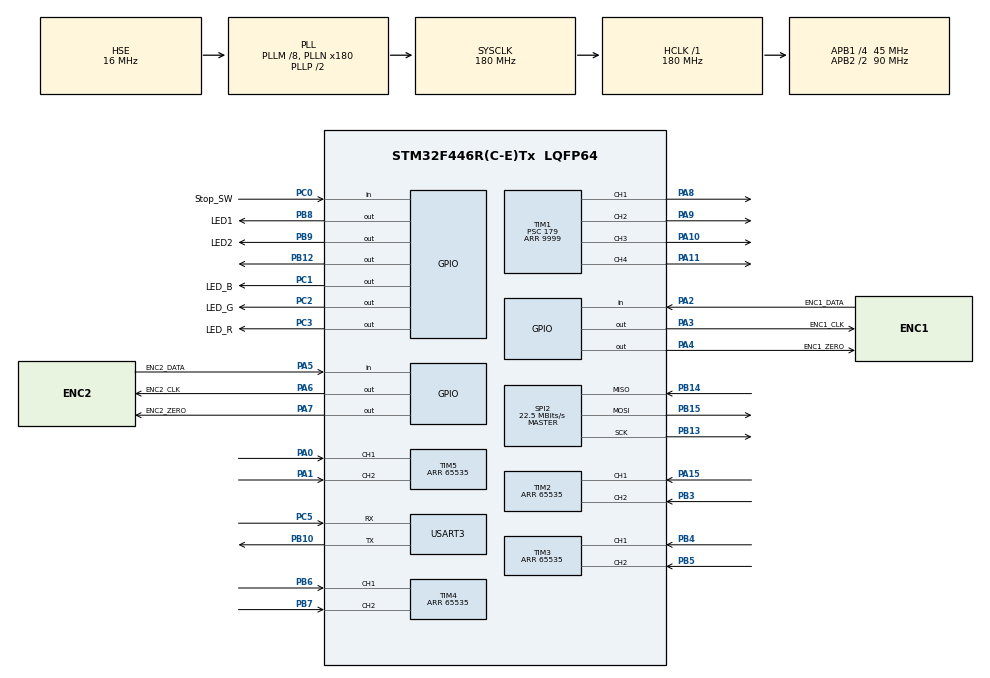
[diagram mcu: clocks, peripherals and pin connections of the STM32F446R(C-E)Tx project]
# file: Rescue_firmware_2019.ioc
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Dma.Request0=SPI2_RX
Dma.Request1=SPI2_TX
Dma.SPI2_RX.0.Direction=DMA_PERIPH_TO_MEMORY
Dma.SPI2_RX.0.FIFOMode=DMA_FIFOMODE_DISABLE
Dma.SPI2_RX.0.Instance=DMA1_Stream3
Dma.SPI2_RX.0.MemDataAlignment=DMA_MDATAALIGN_BYTE
Dma.SPI2_RX.0.MemInc=DMA_MINC_ENABLE
Dma.SPI2_RX.0.Mode=DMA_NORMAL
Dma.SPI2_RX.0.PeriphDataAlignment=DMA_PDATAALIGN_BYTE
Dma.SPI2_RX.0.PeriphInc=DMA_PINC_DISABLE
Dma.SPI2_RX.0.Priority=DMA_PRIORITY_LOW
Dma.SPI2_TX.1.Direction=DMA_MEMORY_TO_PERIPH
Dma.SPI2_TX.1.FIFOMode=DMA_FIFOMODE_DISABLE
Dma.SPI2_TX.1.Instance=DMA1_Stream4
Dma.SPI2_TX.1.MemDataAlignment=DMA_MDATAALIGN_BYTE
Dma.SPI2_TX.1.MemInc=DMA_MINC_ENABLE
Dma.SPI2_TX.1.Mode=DMA_NORMAL
Dma.SPI2_TX.1.PeriphDataAlignment=DMA_PDATAALIGN_BYTE
Dma.SPI2_TX.1.PeriphInc=DMA_PINC_DISABLE
Dma.SPI2_TX.1.Priority=DMA_PRIORITY_LOW
FREERTOS.Tasks01=defaultTask,0,128,StartDefaultTask,Default,NULL
Mcu.Family=STM32F4
Mcu.Name=STM32F446R(C-E)Tx
Mcu.Package=LQFP64
NVIC.DMA1_Stream3_IRQn=true\:5\:0\:false\:false\:true\:true\:false\:true
NVIC.DMA1_Stream4_IRQn=true\:5\:0\:false\:false\:true\:true\:false\:true
NVIC.PriorityGroup=NVIC_PRIORITYGROUP_4
NVIC.TIM1_TRG_COM_TIM11_IRQn=true\:5\:0\:false\:false\:true\:true\:true\:true
NVIC.TIM1_UP_TIM10_IRQn=true\:5\:0\:false\:false\:true\:true\:true\:true
NVIC.TIM6_DAC_IRQn=true\:5\:0\:false\:false\:true\:true\:true\:true
NVIC.USART3_IRQn=true\:5\:0\:false\:false\:true\:true\:true\:true
PA0-WKUP.Signal=S_TIM5_CH1
PA1.Signal=S_TIM5_CH2
PA10.Signal=S_TIM1_CH3
PA11.Signal=S_TIM1_CH4
PA13.Signal=SYS_JTMS-SWDIO
PA14.Signal=SYS_JTCK-SWCLK
PA15.Signal=S_TIM2_CH1_ETR
PA2.GPIO_Label=ENC1_DATA
PA2.Signal=GPIO_Input
PA3.GPIO_Label=ENC1_CLK
PA3.Signal=GPIO_Output
PA4.GPIO_Label=ENC1_ZERO
PA4.Signal=GPIO_Output
PA5.GPIO_Label=ENC2_DATA
PA5.Signal=GPIO_Input
PA6.GPIO_Label=ENC2_CLK
PA6.Signal=GPIO_Output
PA7.GPIO_Label=ENC2_ZERO
PA7.Signal=GPIO_Output
PA8.Signal=S_TIM1_CH1
PA9.Signal=S_TIM1_CH2
PB10.Mode=Asynchronous
PB10.Signal=USART3_TX
PB12.Signal=GPIO_Output
PB13.Mode=Full_Duplex_Master
PB13.Signal=SPI2_SCK
PB14.Mode=Full_Duplex_Master
PB14.Signal=SPI2_MISO
PB15.Mode=Full_Duplex_Master
PB15.Signal=SPI2_MOSI
PB3.Signal=S_TIM2_CH2
PB4.Signal=S_TIM3_CH1
PB5.Signal=S_TIM3_CH2
PB6.Signal=S_TIM4_CH1
PB7.Signal=S_TIM4_CH2
PB8.GPIO_Label=LED1
PB8.Signal=GPIO_Output
PB9.GPIO_Label=LED2
PB9.Signal=GPIO_Output
PC0.GPIO_Label=Stop_SW
PC0.Signal=GPIO_Input
PC1.GPIO_Label=LED_B
PC1.Signal=GPIO_Output
PC2.GPIO_Label=LED_G
PC2.Signal=GPIO_Output
PC3.GPIO_Label=LED_R
PC3.Signal=GPIO_Output
PC5.Mode=Asynchronous
PC5.Signal=USART3_RX
PH0-OSC_IN.Mode=HSE-External-Oscillator
PH0-OSC_IN.Signal=RCC_OSC_IN
PH1-OSC_OUT.Mode=HSE-External-Oscillator
PH1-OSC_OUT.Signal=RCC_OSC_OUT
ProjectManager.HeapSize=0x200
ProjectManager.StackSize=0x400
ProjectManager.TargetToolchain=EWARM V8
RCC.AHBFreq_Value=180000000
RCC.APB1CLKDivider=RCC_HCLK_DIV4
RCC.APB1Freq_Value=45000000
RCC.APB1TimFreq_Value=90000000
RCC.APB2CLKDivider=RCC_HCLK_DIV2
RCC.APB2Freq_Value=90000000
RCC.APB2TimFreq_Value=180000000
RCC.CortexFreq_Value=180000000
RCC.HCLKFreq_Value=180000000
RCC.HSE_VALUE=16000000
RCC.PLLM=8
RCC.PLLN=180
RCC.PLLSourceVirtual=RCC_PLLSOURCE_HSE
RCC.SYSCLKFreq_VALUE=180000000
RCC.SYSCLKSource=RCC_SYSCLKSOURCE_PLLCLK
RCC.USBFreq_Value=180000000
RCC.VCOOutputFreq_Value=360000000
SH.S_TIM1_CH1.0=TIM1_CH1,PWM Generation1 CH1
SH.S_TIM1_CH2.0=TIM1_CH2,PWM Generation2 CH2
SH.S_TIM1_CH3.0=TIM1_CH3,PWM Generation3 CH3
SH.S_TIM1_CH4.0=TIM1_CH4,PWM Generation4 CH4
SH.S_TIM2_CH1_ETR.0=TIM2_CH1,Encoder_Interface
SH.S_TIM2_CH2.0=TIM2_CH2,Encoder_Interface
SH.S_TIM3_CH1.0=TIM3_CH1,Encoder_Interface
SH.S_TIM3_CH2.0=TIM3_CH2,Encoder_Interface
SH.S_TIM4_CH1.0=TIM4_CH1,Encoder_Interface
SH.S_TIM4_CH2.0=TIM4_CH2,Encoder_Interface
SH.S_TIM5_CH1.0=TIM5_CH1,Encoder_Interface
SH.S_TIM5_CH2.0=TIM5_CH2,Encoder_Interface
SPI2.CalculateBaudRate=22.5 MBits/s
SPI2.Direction=SPI_DIRECTION_2LINES
SPI2.Mode=SPI_MODE_MASTER
SPI2.VirtualType=VM_MASTER
TIM1.Channel-PWM\ Generation1\ CH1=TIM_CHANNEL_1
TIM1.Channel-PWM\ Generation2\ CH2=TIM_CHANNEL_2
TIM1.Channel-PWM\ Generation3\ CH3=TIM_CHANNEL_3
TIM1.Channel-PWM\ Generation4\ CH4=TIM_CHANNEL_4
TIM1.Period=9999
TIM1.Prescaler=179
TIM10.Period=99
TIM10.Prescaler=89
TIM11.Period=9999
TIM11.Prescaler=17
TIM2.EncoderMode=TIM_ENCODERMODE_TI12
TIM2.IC1Filter=5
TIM2.IC2Filter=5
TIM2.Period=65535
TIM3.EncoderMode=TIM_ENCODERMODE_TI12
TIM3.IC1Filter=5
TIM3.IC2Filter=5
TIM3.Period=65535
TIM4.EncoderMode=TIM_ENCODERMODE_TI12
TIM4.IC1Filter=5
TIM4.IC2Filter=5
TIM4.Period=65535
TIM5.EncoderMode=TIM_ENCODERMODE_TI12
TIM5.IC1Filter=5
TIM5.IC2Filter=5
TIM5.Period=65535
TIM6.Period=9
TIM6.Prescaler=89
USART3.VirtualMode=VM_ASYNC
VP_FREERTOS_VS_CMSIS_V1.Mode=CMSIS_V1
VP_TIM10_VS_ClockSourceINT.Mode=Enable_Timer
VP_TIM11_VS_ClockSourceINT.Mode=Enable_Timer
VP_TIM6_VS_ClockSourceINT.Mode=Enable_Timer
board=custom

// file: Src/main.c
/* USER CODE BEGIN Header */
/**
******************************************************************************
* @file           : main.c
* @brief          : Main program body
******************************************************************************
* @attention
*
* <h2><center>&copy; Copyright (c) 2019 STMicroelectronics.
* All rights reserved.</center></h2>
*
* This software component is licensed by ST under BSD 3-Clause license,
* the "License"; You may not use this file except in compliance with the
* License. You may obtain a copy of the License at:
*                        opensource.org/licenses/BSD-3-Clause
*
******************************************************************************
*/
/* USER CODE END Header */

#include "main.h"
#include "cmsis_os.h"

/* USER CODE BEGIN Includes */
#include "pid_control_test.c"
#include "pid_control_test.h"
/* USER CODE END Includes */

SPI_HandleTypeDef hspi2;
DMA_HandleTypeDef hdma_spi2_rx;
DMA_HandleTypeDef hdma_spi2_tx;

TIM_HandleTypeDef htim1;
TIM_HandleTypeDef htim2;
TIM_HandleTypeDef htim3;
TIM_HandleTypeDef htim4;
TIM_HandleTypeDef htim5;
TIM_HandleTypeDef htim6;
TIM_HandleTypeDef htim10;
TIM_HandleTypeDef htim11;

UART_HandleTypeDef huart3;

osThreadId defaultTaskHandle;
/* USER CODE BEGIN PV */

//spi
#define SpiEn HAL_GPIO_WritePin(GPIOB, GPIO_PIN_12, GPIO_PIN_RESET); //SPI1 NSS
#define SpiDis HAL_GPIO_WritePin(GPIOB, GPIO_PIN_12, GPIO_PIN_SET);

//// Debug ////
int timer_test = 0;
int cnt_1ms = 0;
uint8_t st = 0;
int db = 0;
int degree_0 = 0;
int degree_30 = 1000;
int degree_60 = 2000;
int degree_90 = 3800;

int l_Target_ang = 0;
int r_Target_ang = 0;

int test_buff[] = {5,2,6,3,4,7,8,1,9};
//// FLAG ////
uint8_t a = 0;
uint8_t start_SW = 0;
uint8_t start_init = 0;
uint8_t LED_R = 0;
uint8_t LED_G = 0;
uint8_t LED_B = 0;
int time_10ms = 0;
int test = 0;
int test_angle = 0;
int start_control = 0;

uint8_t is_auto = 0;
uint8_t stop = 0;
uint8_t button = 0;
uint8_t pre_button_data = 0;
//// FLAG ////

//spi
int spi_opperate = 0;
int b = 0;
int error = 0;

uint8_t master_buffer_tx[4] = {0, };
uint8_t master_buffer_rx[4] = {0, };
//spi

uint8_t rx_buff[1] = {0, };
uint8_t tx_buff[27] = {255,170,100,100,100,100,0,0,0,0,0,0,0,0,0,0,0,0,0,0,0,0,0,0,0,0,0};
uint8_t check_sum = 0;
int tx_count = 0;
uint32_t adc_buff[4] = {0, };
int buff_size = 0;
int check_buff[28] = {0, };
int real_buff[28] = {100,100,100,100,0,0,0,0,0,0,0,0,0,0,0,0,100,100,100,100,100,100, 100, 100, 0 , 0, 0, 0};
const int Default[28] = {100,100,100,100,0,0,0,0,0,0,0,0,0,0,0,0,100,100,100,100,100,100, 100, 100, 0, 0, 0, 0}; //통신 끊겼을 시 기본값
int rx_state;
int count = 0;
enum {start1 = 0, start2, get_data};
int Encoder_Cnt[4] = {0,  };
int PWM[4] = {5000, 5000, 5000, 5000};
int booster = 0;
double j_booster = 0;

//// PID ////
double Target = 0;
int l_now_RPM =0;
int r_now_RPM =0;
int RPM = 0;

unsigned int l_EncoderData = 0;
unsigned int r_EncoderData = 0;

int l_EncoderCnt = 0;
int r_EncoderCnt = 0;

int l_buff = 0;
int r_buff = 0;

double l_EncoderSum = 0.0;
double r_EncoderSum = 0.0;

int l_Angle = 0;
int r_Angle = 0;

double l_Input[3] = {0.0, };
double r_Input[3] = {0.0, };

double l_Target = 0.0;
double r_Target = 0.0;

double l_TargetAngle = 0.0; //2000 ~ 5000 ~ 8000
double r_TargetAngle = 0.0;

LPID l_BLDC[3];         //left
LPID r_BLDC[3];         //right
//// PID ////

uint32_t analog_current = 0;
double current = 0;

/////////////////////////////absolute Encoder
int NowAngle[2]    = {0, };
int diff[2] = {0,};
int calcValue[2] = {0,};
int encStep = 0;
int encCnt = 0;
int encDelayCnt = 0;
int encResetCnt[2] = {0, };
uint8_t encReadData[2] = {0, };
int encDataTemp[2] = {0, };
int encNowData[2]  = {0, };
int raw_flipper_deg[2] = {0, };
int flipper_deg[2] = {0, };     // 신뢰 각도
enum{left = 0, right};
const int ENC_HEX[12] =
{
  0x0800, 0x0400, 0x0200, 0x0100,
  0x0080, 0x0040, 0x0020, 0x0010,
  0x0008, 0x0004, 0x0002, 0x0001
};

int INC_enc_data[4] = {0,};
int b_flipper_deg[2][9] = {0, };
int ing_flipper_deg[2][9] = {0, };
uint8_t showtime = 0;
/////////////////////////////absolute Encoder

/////////////////robot control
int control_flipper_deg[2] = {0, };
/////////////////robot control

//통신 끊겼을 시 정지
int escapeCnt = 0;
int enc_cnt = -1;
/* USER CODE END PV */

void SystemClock_Config(void);
static void MX_GPIO_Init(void);
static void MX_DMA_Init(void);
static void MX_SPI2_Init(void);
static void MX_TIM1_Init(void);
static void MX_TIM2_Init(void);
static void MX_TIM3_Init(void);
static void MX_TIM4_Init(void);
static void MX_TIM5_Init(void);
static void MX_TIM10_Init(void);
static void MX_TIM11_Init(void);
static void MX_USART3_UART_Init(void);
static void MX_TIM6_Init(void);
void StartDefaultTask(void const * argument);

/* USER CODE BEGIN 0 */

// void StartDefaultTaskNew(void const * argument);

void AnalogRead();
void rpm2Degree(double rpm);
void Enc_Clk_ClrVal();
void Enc_Clk_SetVal();
void medianFilterEnc();
void Buzz_Lightyear();

//spi
void HAL_SPI_TxRxCpltCallback(SPI_HandleTypeDef *hspi);
void potentiometer_processing();
//spi

void escape();
void init_position();
void control_bangkook();

void test_Target_ang();

void driving_mode();

/* USER CODE END 0 */

int main(void)
{

  /* MCU Configuration--------------------------------------------------------*/

  /* Reset of all peripherals, Initializes the Flash interface and the Systick. */
  HAL_Init();

  /* Configure the system clock */
  SystemClock_Config();

  /* Initialize all configured peripherals */
  MX_GPIO_Init();
  MX_DMA_Init();
  MX_SPI2_Init();
  MX_TIM1_Init();
  MX_TIM2_Init();
  MX_TIM3_Init();
  MX_TIM4_Init();
  MX_TIM5_Init();
  MX_TIM10_Init();
  MX_TIM11_Init();
  MX_USART3_UART_Init();
  MX_TIM6_Init();
  /* USER CODE BEGIN 2 */

  HAL_TIM_Base_Start_IT(&htim6);
  HAL_TIM_Base_Start_IT(&htim10);

  HAL_TIM_PWM_Start(&htim1, TIM_CHANNEL_1);
  HAL_TIMEx_PWMN_Start(&htim1, TIM_CHANNEL_1);
  HAL_TIM_PWM_Start(&htim1, TIM_CHANNEL_2);
  HAL_TIMEx_PWMN_Start(&htim1, TIM_CHANNEL_2);
  HAL_TIM_PWM_Start(&htim1, TIM_CHANNEL_3);
  HAL_TIMEx_PWMN_Start(&htim1, TIM_CHANNEL_3);
  HAL_TIM_PWM_Start(&htim1, TIM_CHANNEL_4);
  HAL_TIMEx_PWMN_Start(&htim1, TIM_CHANNEL_4);

  HAL_TIM_Encoder_Start(&htim2,TIM_CHANNEL_1);
  HAL_TIM_Encoder_Start(&htim2,TIM_CHANNEL_2);
  HAL_TIM_Encoder_Start(&htim3,TIM_CHANNEL_1);
  HAL_TIM_Encoder_Start(&htim3,TIM_CHANNEL_2);
  HAL_TIM_Encoder_Start(&htim4,TIM_CHANNEL_1);
  HAL_TIM_Encoder_Start(&htim4,TIM_CHANNEL_2);
  HAL_TIM_Encoder_Start(&htim5,TIM_CHANNEL_1);
  HAL_TIM_Encoder_Start(&htim5,TIM_CHANNEL_2);

  __HAL_UART_ENABLE_IT(&huart3,UART_IT_RXNE);
  __HAL_UART_ENABLE_IT(&huart3,UART_IT_TC);
  HAL_GPIO_WritePin(GPIOA, GPIO_PIN_1, GPIO_PIN_RESET);
  HAL_GPIO_WritePin(GPIOC, GPIO_PIN_12, GPIO_PIN_SET);
  HAL_UART_Receive_IT(&huart3,(uint8_t *)(rx_buff), 1);
  HAL_UART_Transmit_IT(&huart3,(uint8_t *)(tx_buff), 26);
  rx_state = start1;

  //PID
  PID_Control_Long_Initialize(&l_BLDC[pos], pos);
  PID_Control_Long_Initialize(&l_BLDC[vel], vel);
  PID_Control_Long_Initialize(&r_BLDC[pos], pos);
  PID_Control_Long_Initialize(&r_BLDC[vel], vel);

  //spi
  HAL_TIM_Base_Start_IT(&htim11);
  HAL_SPI_Init(&hspi2);

  /*    send the data to SPI   */
  if(HAL_SPI_TransmitReceive_DMA(&hspi2, master_buffer_tx, master_buffer_rx, 4)!=HAL_OK){
    Error_Handler();
  }

  /*    chenck the SPI state    */
  while(HAL_SPI_GetState(&hspi2) != HAL_SPI_STATE_READY); //spi 상태 반환
  //spi

  /* USER CODE END 2 */

  /* Create the thread(s) */
  /* definition and creation of defaultTask */
  osThreadDef(defaultTask, StartDefaultTask, osPriorityNormal, 0, 128);
  defaultTaskHandle = osThreadCreate(osThread(defaultTask), NULL);

  /* Start scheduler */
  osKernelStart();

  /* We should never get here as control is now taken by the scheduler */

  /* Infinite loop */
  while (1)
  {

  }
}

void SystemClock_Config(void)
{
  RCC_OscInitTypeDef RCC_OscInitStruct = {0};
  RCC_ClkInitTypeDef RCC_ClkInitStruct = {0};

  /** Configure the main internal regulator output voltage
  */
  __HAL_RCC_PWR_CLK_ENABLE();
  __HAL_PWR_VOLTAGESCALING_CONFIG(PWR_REGULATOR_VOLTAGE_SCALE1);
  /** Initializes the CPU, AHB and APB busses clocks
  */
  RCC_OscInitStruct.OscillatorType = RCC_OSCILLATORTYPE_HSE;
  RCC_OscInitStruct.HSEState = RCC_HSE_ON;
  RCC_OscInitStruct.PLL.PLLState = RCC_PLL_ON;
  RCC_OscInitStruct.PLL.PLLSource = RCC_PLLSOURCE_HSE;
  RCC_OscInitStruct.PLL.PLLM = 8;
  RCC_OscInitStruct.PLL.PLLN = 180;
  RCC_OscInitStruct.PLL.PLLP = RCC_PLLP_DIV2;
  RCC_OscInitStruct.PLL.PLLQ = 2;
  RCC_OscInitStruct.PLL.PLLR = 2;
  if (HAL_RCC_OscConfig(&RCC_OscInitStruct) != HAL_OK)
  {
    Error_Handler();
  }
  /** Activate the Over-Drive mode
  */
  if (HAL_PWREx_EnableOverDrive() != HAL_OK)
  {
    Error_Handler();
  }
  /** Initializes the CPU, AHB and APB busses clocks
  */
  RCC_ClkInitStruct.ClockType = RCC_CLOCKTYPE_HCLK|RCC_CLOCKTYPE_SYSCLK
                              |RCC_CLOCKTYPE_PCLK1|RCC_CLOCKTYPE_PCLK2;
  RCC_ClkInitStruct.SYSCLKSource = RCC_SYSCLKSOURCE_PLLCLK;
  RCC_ClkInitStruct.AHBCLKDivider = RCC_SYSCLK_DIV1;
  RCC_ClkInitStruct.APB1CLKDivider = RCC_HCLK_DIV4;
  RCC_ClkInitStruct.APB2CLKDivider = RCC_HCLK_DIV2;

  if (HAL_RCC_ClockConfig(&RCC_ClkInitStruct, FLASH_LATENCY_5) != HAL_OK)
  {
    Error_Handler();
  }
}

static void MX_SPI2_Init(void)
{

  /* SPI2 parameter configuration*/
  hspi2.Instance = SPI2;
  hspi2.Init.Mode = SPI_MODE_MASTER;
  hspi2.Init.Direction = SPI_DIRECTION_2LINES;
  hspi2.Init.DataSize = SPI_DATASIZE_8BIT;
  hspi2.Init.CLKPolarity = SPI_POLARITY_LOW;
  hspi2.Init.CLKPhase = SPI_PHASE_1EDGE;
  hspi2.Init.NSS = SPI_NSS_SOFT;
  hspi2.Init.BaudRatePrescaler = SPI_BAUDRATEPRESCALER_2;
  hspi2.Init.FirstBit = SPI_FIRSTBIT_MSB;
  hspi2.Init.TIMode = SPI_TIMODE_DISABLE;
  hspi2.Init.CRCCalculation = SPI_CRCCALCULATION_DISABLE;
  hspi2.Init.CRCPolynomial = 10;
  if (HAL_SPI_Init(&hspi2) != HAL_OK)
  {
    Error_Handler();
  }

}

static void MX_TIM1_Init(void)
{

  TIM_MasterConfigTypeDef sMasterConfig = {0};
  TIM_OC_InitTypeDef sConfigOC = {0};
  TIM_BreakDeadTimeConfigTypeDef sBreakDeadTimeConfig = {0};

  htim1.Instance = TIM1;
  htim1.Init.Prescaler = 179;
  htim1.Init.CounterMode = TIM_COUNTERMODE_UP;
  htim1.Init.Period = 9999;
  htim1.Init.ClockDivision = TIM_CLOCKDIVISION_DIV1;
  htim1.Init.RepetitionCounter = 0;
  htim1.Init.AutoReloadPreload = TIM_AUTORELOAD_PRELOAD_DISABLE;
  if (HAL_TIM_PWM_Init(&htim1) != HAL_OK)
  {
    Error_Handler();
  }
  sMasterConfig.MasterOutputTrigger = TIM_TRGO_RESET;
  sMasterConfig.MasterSlaveMode = TIM_MASTERSLAVEMODE_DISABLE;
  if (HAL_TIMEx_MasterConfigSynchronization(&htim1, &sMasterConfig) != HAL_OK)
  {
    Error_Handler();
  }
  sConfigOC.OCMode = TIM_OCMODE_PWM1;
  sConfigOC.Pulse = 0;
  sConfigOC.OCPolarity = TIM_OCPOLARITY_HIGH;
  sConfigOC.OCNPolarity = TIM_OCNPOLARITY_HIGH;
  sConfigOC.OCFastMode = TIM_OCFAST_DISABLE;
  sConfigOC.OCIdleState = TIM_OCIDLESTATE_RESET;
  sConfigOC.OCNIdleState = TIM_OCNIDLESTATE_RESET;
  if (HAL_TIM_PWM_ConfigChannel(&htim1, &sConfigOC, TIM_CHANNEL_1) != HAL_OK)
  {
    Error_Handler();
  }
  if (HAL_TIM_PWM_ConfigChannel(&htim1, &sConfigOC, TIM_CHANNEL_2) != HAL_OK)
  {
    Error_Handler();
  }
  if (HAL_TIM_PWM_ConfigChannel(&htim1, &sConfigOC, TIM_CHANNEL_3) != HAL_OK)
  {
    Error_Handler();
  }
  if (HAL_TIM_PWM_ConfigChannel(&htim1, &sConfigOC, TIM_CHANNEL_4) != HAL_OK)
  {
    Error_Handler();
  }
  sBreakDeadTimeConfig.OffStateRunMode = TIM_OSSR_DISABLE;
  sBreakDeadTimeConfig.OffStateIDLEMode = TIM_OSSI_DISABLE;
  sBreakDeadTimeConfig.LockLevel = TIM_LOCKLEVEL_OFF;
  sBreakDeadTimeConfig.DeadTime = 0;
  sBreakDeadTimeConfig.BreakState = TIM_BREAK_DISABLE;
  sBreakDeadTimeConfig.BreakPolarity = TIM_BREAKPOLARITY_HIGH;
  sBreakDeadTimeConfig.AutomaticOutput = TIM_AUTOMATICOUTPUT_DISABLE;
  if (HAL_TIMEx_ConfigBreakDeadTime(&htim1, &sBreakDeadTimeConfig) != HAL_OK)
  {
    Error_Handler();
  }
  HAL_TIM_MspPostInit(&htim1);

}

static void MX_TIM2_Init(void)
{

  TIM_Encoder_InitTypeDef sConfig = {0};
  TIM_MasterConfigTypeDef sMasterConfig = {0};

  htim2.Instance = TIM2;
  htim2.Init.Prescaler = 0;
  htim2.Init.CounterMode = TIM_COUNTERMODE_UP;
  htim2.Init.Period = 65535;
  htim2.Init.ClockDivision = TIM_CLOCKDIVISION_DIV1;
  htim2.Init.AutoReloadPreload = TIM_AUTORELOAD_PRELOAD_DISABLE;
  sConfig.EncoderMode = TIM_ENCODERMODE_TI12;
  sConfig.IC1Polarity = TIM_ICPOLARITY_RISING;
  sConfig.IC1Selection = TIM_ICSELECTION_DIRECTTI;
  sConfig.IC1Prescaler = TIM_ICPSC_DIV1;
  sConfig.IC1Filter = 5;
  sConfig.IC2Polarity = TIM_ICPOLARITY_RISING;
  sConfig.IC2Selection = TIM_ICSELECTION_DIRECTTI;
  sConfig.IC2Prescaler = TIM_ICPSC_DIV1;
  sConfig.IC2Filter = 5;
  if (HAL_TIM_Encoder_Init(&htim2, &sConfig) != HAL_OK)
  {
    Error_Handler();
  }
  sMasterConfig.MasterOutputTrigger = TIM_TRGO_RESET;
  sMasterConfig.MasterSlaveMode = TIM_MASTERSLAVEMODE_DISABLE;
  if (HAL_TIMEx_MasterConfigSynchronization(&htim2, &sMasterConfig) != HAL_OK)
  {
    Error_Handler();
  }

}

static void MX_TIM3_Init(void)
{

  TIM_Encoder_InitTypeDef sConfig = {0};
  TIM_MasterConfigTypeDef sMasterConfig = {0};

  htim3.Instance = TIM3;
  htim3.Init.Prescaler = 0;
  htim3.Init.CounterMode = TIM_COUNTERMODE_UP;
  htim3.Init.Period = 65535;
  htim3.Init.ClockDivision = TIM_CLOCKDIVISION_DIV1;
  htim3.Init.AutoReloadPreload = TIM_AUTORELOAD_PRELOAD_DISABLE;
  sConfig.EncoderMode = TIM_ENCODERMODE_TI12;
  sConfig.IC1Polarity = TIM_ICPOLARITY_RISING;
  sConfig.IC1Selection = TIM_ICSELECTION_DIRECTTI;
  sConfig.IC1Prescaler = TIM_ICPSC_DIV1;
  sConfig.IC1Filter = 5;
  sConfig.IC2Polarity = TIM_ICPOLARITY_RISING;
  sConfig.IC2Selection = TIM_ICSELECTION_DIRECTTI;
  sConfig.IC2Prescaler = TIM_ICPSC_DIV1;
  sConfig.IC2Filter = 5;
  if (HAL_TIM_Encoder_Init(&htim3, &sConfig) != HAL_OK)
  {
    Error_Handler();
  }
  sMasterConfig.MasterOutputTrigger = TIM_TRGO_RESET;
  sMasterConfig.MasterSlaveMode = TIM_MASTERSLAVEMODE_DISABLE;
  if (HAL_TIMEx_MasterConfigSynchronization(&htim3, &sMasterConfig) != HAL_OK)
  {
    Error_Handler();
  }

}

static void MX_TIM4_Init(void)
{

  TIM_Encoder_InitTypeDef sConfig = {0};
  TIM_MasterConfigTypeDef sMasterConfig = {0};

  htim4.Instance = TIM4;
  htim4.Init.Prescaler = 0;
  htim4.Init.CounterMode = TIM_COUNTERMODE_UP;
  htim4.Init.Period = 65535;
  htim4.Init.ClockDivision = TIM_CLOCKDIVISION_DIV1;
  htim4.Init.AutoReloadPreload = TIM_AUTORELOAD_PRELOAD_DISABLE;
  sConfig.EncoderMode = TIM_ENCODERMODE_TI12;
  sConfig.IC1Polarity = TIM_ICPOLARITY_RISING;
  sConfig.IC1Selection = TIM_ICSELECTION_DIRECTTI;
  sConfig.IC1Prescaler = TIM_ICPSC_DIV1;
  sConfig.IC1Filter = 5;
  sConfig.IC2Polarity = TIM_ICPOLARITY_RISING;
  sConfig.IC2Selection = TIM_ICSELECTION_DIRECTTI;
  sConfig.IC2Prescaler = TIM_ICPSC_DIV1;
  sConfig.IC2Filter = 5;
  if (HAL_TIM_Encoder_Init(&htim4, &sConfig) != HAL_OK)
  {
    Error_Handler();
  }
  sMasterConfig.MasterOutputTrigger = TIM_TRGO_RESET;
  sMasterConfig.MasterSlaveMode = TIM_MASTERSLAVEMODE_DISABLE;
  if (HAL_TIMEx_MasterConfigSynchronization(&htim4, &sMasterConfig) != HAL_OK)
  {
    Error_Handler();
  }

}

static void MX_TIM5_Init(void)
{

  TIM_Encoder_InitTypeDef sConfig = {0};
  TIM_MasterConfigTypeDef sMasterConfig = {0};

  htim5.Instance = TIM5;
  htim5.Init.Prescaler = 0;
  htim5.Init.CounterMode = TIM_COUNTERMODE_UP;
  htim5.Init.Period = 65535;
  htim5.Init.ClockDivision = TIM_CLOCKDIVISION_DIV1;
  htim5.Init.AutoReloadPreload = TIM_AUTORELOAD_PRELOAD_DISABLE;
  sConfig.EncoderMode = TIM_ENCODERMODE_TI12;
  sConfig.IC1Polarity = TIM_ICPOLARITY_RISING;
  sConfig.IC1Selection = TIM_ICSELECTION_DIRECTTI;
  sConfig.IC1Prescaler = TIM_ICPSC_DIV1;
  sConfig.IC1Filter = 5;
  sConfig.IC2Polarity = TIM_ICPOLARITY_RISING;
  sConfig.IC2Selection = TIM_ICSELECTION_DIRECTTI;
  sConfig.IC2Prescaler = TIM_ICPSC_DIV1;
  sConfig.IC2Filter = 5;
  if (HAL_TIM_Encoder_Init(&htim5, &sConfig) != HAL_OK)
  {
    Error_Handler();
  }
  sMasterConfig.MasterOutputTrigger = TIM_TRGO_RESET;
  sMasterConfig.MasterSlaveMode = TIM_MASTERSLAVEMODE_DISABLE;
  if (HAL_TIMEx_MasterConfigSynchronization(&htim5, &sMasterConfig) != HAL_OK)
  {
    Error_Handler();
  }

}

static void MX_TIM6_Init(void)
{

  TIM_MasterConfigTypeDef sMasterConfig = {0};

  htim6.Instance = TIM6;
  htim6.Init.Prescaler = 89;
  htim6.Init.CounterMode = TIM_COUNTERMODE_UP;
  htim6.Init.Period = 9;
  htim6.Init.AutoReloadPreload = TIM_AUTORELOAD_PRELOAD_DISABLE;
  if (HAL_TIM_Base_Init(&htim6) != HAL_OK)
  {
    Error_Handler();
  }
  sMasterConfig.MasterOutputTrigger = TIM_TRGO_RESET;
  sMasterConfig.MasterSlaveMode = TIM_MASTERSLAVEMODE_DISABLE;
  if (HAL_TIMEx_MasterConfigSynchronization(&htim6, &sMasterConfig) != HAL_OK)
  {
    Error_Handler();
  }

}

static void MX_TIM10_Init(void)
{

  htim10.Instance = TIM10;
  htim10.Init.Prescaler = 89;
  htim10.Init.CounterMode = TIM_COUNTERMODE_UP;
  htim10.Init.Period = 99;
  htim10.Init.ClockDivision = TIM_CLOCKDIVISION_DIV1;
  htim10.Init.AutoReloadPreload = TIM_AUTORELOAD_PRELOAD_DISABLE;
  if (HAL_TIM_Base_Init(&htim10) != HAL_OK)
  {
    Error_Handler();
  }

}

static void MX_TIM11_Init(void)
{

  htim11.Instance = TIM11;
  htim11.Init.Prescaler = 17;
  htim11.Init.CounterMode = TIM_COUNTERMODE_UP;
  htim11.Init.Period = 9999;
  htim11.Init.ClockDivision = TIM_CLOCKDIVISION_DIV1;
  htim11.Init.AutoReloadPreload = TIM_AUTORELOAD_PRELOAD_DISABLE;
  if (HAL_TIM_Base_Init(&htim11) != HAL_OK)
  {
    Error_Handler();
  }

}

static void MX_USART3_UART_Init(void)
{

  huart3.Instance = USART3;
  huart3.Init.BaudRate = 115200;
  huart3.Init.WordLength = UART_WORDLENGTH_8B;
  huart3.Init.StopBits = UART_STOPBITS_1;
  huart3.Init.Parity = UART_PARITY_NONE;
  huart3.Init.Mode = UART_MODE_TX_RX;
  huart3.Init.HwFlowCtl = UART_HWCONTROL_NONE;
  huart3.Init.OverSampling = UART_OVERSAMPLING_16;
  if (HAL_UART_Init(&huart3) != HAL_OK)
  {
    Error_Handler();
  }

}

static void MX_DMA_Init(void)
{
  /* DMA controller clock enable */
  __HAL_RCC_DMA1_CLK_ENABLE();

  /* DMA interrupt init */
  /* DMA1_Stream3_IRQn interrupt configuration */
  HAL_NVIC_SetPriority(DMA1_Stream3_IRQn, 5, 0);
  HAL_NVIC_EnableIRQ(DMA1_Stream3_IRQn);
  /* DMA1_Stream4_IRQn interrupt configuration */
  HAL_NVIC_SetPriority(DMA1_Stream4_IRQn, 5, 0);
  HAL_NVIC_EnableIRQ(DMA1_Stream4_IRQn);

}

static void MX_GPIO_Init(void)
{
  GPIO_InitTypeDef GPIO_InitStruct = {0};

  /* GPIO Ports Clock Enable */
  __HAL_RCC_GPIOH_CLK_ENABLE();
  __HAL_RCC_GPIOC_CLK_ENABLE();
  __HAL_RCC_GPIOA_CLK_ENABLE();
  __HAL_RCC_GPIOB_CLK_ENABLE();

  /*Configure GPIO pin Output Level */
  HAL_GPIO_WritePin(GPIOC, LED_B_Pin|LED_G_Pin|LED_R_Pin, GPIO_PIN_RESET);

  /*Configure GPIO pin Output Level */
  HAL_GPIO_WritePin(GPIOA, ENC1_CLK_Pin|ENC1_ZERO_Pin|ENC2_CLK_Pin|ENC2_ZERO_Pin, GPIO_PIN_RESET);

  /*Configure GPIO pin Output Level */
  HAL_GPIO_WritePin(GPIOB, GPIO_PIN_12|LED1_Pin|LED2_Pin, GPIO_PIN_RESET);

  /*Configure GPIO pin : Stop_SW_Pin */
  GPIO_InitStruct.Pin = Stop_SW_Pin;
  GPIO_InitStruct.Mode = GPIO_MODE_INPUT;
  GPIO_InitStruct.Pull = GPIO_NOPULL;
  HAL_GPIO_Init(Stop_SW_GPIO_Port, &GPIO_InitStruct);

  /*Configure GPIO pins : LED_B_Pin LED_G_Pin LED_R_Pin */
  GPIO_InitStruct.Pin = LED_B_Pin|LED_G_Pin|LED_R_Pin;
  GPIO_InitStruct.Mode = GPIO_MODE_OUTPUT_PP;
  GPIO_InitStruct.Pull = GPIO_NOPULL;
  GPIO_InitStruct.Speed = GPIO_SPEED_FREQ_LOW;
  HAL_GPIO_Init(GPIOC, &GPIO_InitStruct);

  /*Configure GPIO pins : ENC1_DATA_Pin ENC2_DATA_Pin */
  GPIO_InitStruct.Pin = ENC1_DATA_Pin|ENC2_DATA_Pin;
  GPIO_InitStruct.Mode = GPIO_MODE_INPUT;
  GPIO_InitStruct.Pull = GPIO_NOPULL;
  HAL_GPIO_Init(GPIOA, &GPIO_InitStruct);

  /*Configure GPIO pins : ENC1_CLK_Pin ENC1_ZERO_Pin ENC2_CLK_Pin ENC2_ZERO_Pin */
  GPIO_InitStruct.Pin = ENC1_CLK_Pin|ENC1_ZERO_Pin|ENC2_CLK_Pin|ENC2_ZERO_Pin;
  GPIO_InitStruct.Mode = GPIO_MODE_OUTPUT_PP;
  GPIO_InitStruct.Pull = GPIO_NOPULL;
  GPIO_InitStruct.Speed = GPIO_SPEED_FREQ_LOW;
  HAL_GPIO_Init(GPIOA, &GPIO_InitStruct);

  /*Configure GPIO pins : PB12 LED1_Pin LED2_Pin */
  GPIO_InitStruct.Pin = GPIO_PIN_12|LED1_Pin|LED2_Pin;
  GPIO_InitStruct.Mode = GPIO_MODE_OUTPUT_PP;
  GPIO_InitStruct.Pull = GPIO_NOPULL;
  GPIO_InitStruct.Speed = GPIO_SPEED_FREQ_LOW;
  HAL_GPIO_Init(GPIOB, &GPIO_InitStruct);

}

/* USER CODE BEGIN 4 */

void HAL_UART_RxCpltCallback(UART_HandleTypeDef *huart)
{
  HAL_UART_Receive_IT(&huart3,(uint8_t *)(rx_buff), 1);

  switch(rx_state)
  {
  case start1:
    if(rx_buff[0] == 255){
      rx_state = start2;
      check_sum += rx_buff[0];
    }
    break;
  case start2:
    if(rx_buff[0] == 170){
      rx_state = get_data;
      check_sum += rx_buff[0];
    }
    break;
  case get_data:
    if(buff_size > 27){
      if(check_sum == rx_buff[0]){
        for(int i = 0 ; i < buff_size ; i++)
        {
          real_buff[i] = check_buff[i];
          check_buff[i] = 0;
        }
      }
      buff_size = 0;
      check_sum = 0;
      rx_state = start1;
    }
    else
    {
      check_buff[buff_size] = rx_buff[0];
      check_sum += rx_buff[0];
      buff_size++;
    }
    break;
  }
  escapeCnt = 0;
}

void HAL_UART_TxCpltCallback(UART_HandleTypeDef *huart)
{
  tx_buff[0] = 255;
  tx_buff[1] = 170;
  tx_buff[2] = adc_buff[0] / 1000;
  tx_buff[3] = (adc_buff[0] % 1000) / 100;
  tx_buff[4] = (adc_buff[0] % 100) / 10;
  tx_buff[5] = (adc_buff[0] % 10);
  HAL_UART_Transmit_IT(&huart3,(uint8_t *)(tx_buff), 26);
}

void escape()
{
  escapeCnt++;
  if(escapeCnt > 10000)        //통신 끊겼을 시 Default
  {
    LED_G = 1;
    rx_buff[0] = 0x00;
    if(rx_buff[0] == 0x00)
    {
      for(int i = 0; i < 28; i++)
      {
        real_buff[i] = Default[i];
      }
    }
  }
  else LED_G = 0;
}

void init_position()            //fillper init
{
//  start_SW = HAL_GPIO_ReadPin(GPIOC,GPIO_PIN_3);
  if(real_buff[25] == 1) //스위치 눌렀을 때 || ui로 init버튼 눌렀을 때
  {
    start_init = 1;
  }

  if(((flipper_deg[left] >= 0 && flipper_deg[left] < 5) || (flipper_deg[left] > 355 && flipper_deg[left] < 360))
     &&((flipper_deg[right] >= 0 && flipper_deg[right] < 5) || (flipper_deg[right] > 355 && flipper_deg[right] < 360)))
  {
    l_EncoderSum = 0;
    r_EncoderSum = 0;
    start_control = 1;
  }

  if(start_init == 1 && st == 0) // start button
  {
    //left init
    if(flipper_deg[left] >= 180) // -방향
    {
      l_TargetAngle = -(360 - flipper_deg[left]) * 50;
    }
    else if(flipper_deg[left] < 180)  // +방향
    {
      l_TargetAngle = flipper_deg[left]*50;
    }

    //right init
    if(flipper_deg[right] >= 180) // -방향
    {
      r_TargetAngle = (360 - flipper_deg[right]) * 50;
    }
    else if(flipper_deg[right] < 180)  // +방향
    {
      r_TargetAngle = -flipper_deg[right]*50;
    }

    st = 1;
  }
}

void driving_mode()
{

  //// stop button
  button = HAL_GPIO_ReadPin(GPIOC,GPIO_PIN_0);
  if(pre_button_data == 0 && button == 1)
  {
    if(stop == 0)
      stop = 1;
    else
      stop = 0;
  }
  pre_button_data = button;
  //// stop button

  if(real_buff[15] == 0) // 구동부일 때( 팔 조이스틱 아닌경우)
  {
    LED_R = 0;
    if(real_buff[24] == 1)        //자동
    {
      if(stop == 1)
      {
        PWM[0] = 5000;
        PWM[1] = 5000;
        PWM[2] = 5000;
        PWM[3] = 5000;
        LED_B = 0;
      }
      else
      {
        //        PWM[0] = real_buff[22]*30+2000;
        //        PWM[1] = real_buff[23]*30+2000;
        PWM[0] = real_buff[22]*15+3500;
        PWM[1] = real_buff[23]*15+3500;
        LED_B = 1;
      }
    }
    else  // 수동
    {
      LED_B = 0;
      booster = real_buff[27] * 750;   // 속도 조절 0,1,2단계
      j_booster = -(15 + real_buff[27] * 7.5);

      if(real_buff[26] == 0)
      {
        if(real_buff[18] == 200 || real_buff[19] == 200 || real_buff[20] == 200 || real_buff[21] == 200) // Push SW mode
        {
          if(real_buff[18] == 200) // 전진
          {
            PWM[0] = 6500 + booster;
            PWM[1] = 6500 + booster;
          }
          else if(real_buff[19] == 200) // 후진
          {
            PWM[0] = 3500 - booster;
            PWM[1] = 3500 - booster;
          }
          else if(real_buff[20] == 200) //좌회전
          {
            PWM[0] = 3500 - booster;
            PWM[1] = 6500 + booster;
          }
          else if(real_buff[21] == 200) // 우회전
          {
            PWM[0] = 6500 + booster;
            PWM[1] = 3500 - booster;
          }
          else
          {
            PWM[0] = 5000;
            PWM[1] = 5000;
          }
        }
        else        //Joy stick mode
        {
          //joystick 200:후진, 100:정지 0 전진
          PWM[0] =  (int)(real_buff[1] * j_booster) + 6500 + booster;       // 왼쪽은 VESC 빨간색 파란색 반대로 연결하고 진행할 것
          PWM[1] =  (int)(real_buff[3] * j_booster) + 6500 + booster;
        }
      }
      else // 조종 반전
      {
        if(real_buff[18] == 200 || real_buff[19] == 200 || real_buff[20] == 200 || real_buff[21] == 200)
        {
          if(real_buff[18] == 200) // 전진
          {
            PWM[0] = 3500 - booster;
            PWM[1] = 3500 - booster;
          }
          else if(real_buff[19] == 200) // 후진
          {
            PWM[0] = 6500 + booster;
            PWM[1] = 6500 + booster;
          }
          else if(real_buff[20] == 200) //좌회전
          {
            PWM[0] = 3500 - booster;
            PWM[1] = 6500 + booster;
          }
          else if(real_buff[21] == 200) // 우회전
          {
            PWM[0] = 6500 + booster;
            PWM[1] = 3500 - booster;
          }
          else
          {
            PWM[0] = 5000;
            PWM[1] = 5000;
          }
        }
        else
        {
          //joystick 200:후진, 100:정지 0 전진
          PWM[0] =  (int)(real_buff[1] * -j_booster) + 3500 - booster;       // 왼쪽은 VESC 빨간색 파란색 반대로 연결하고 진행할 것
          PWM[1] =  (int)(real_buff[3] * -j_booster) + 3500 - booster;

        }
      }
    }
  }
  else
  {
    LED_R = 1;
    PWM[0] = 5000;
    PWM[1] = 5000;
  }
}

void control_bangkook()
{

  driving_mode(); //주석 풀 것
  //구동부

  //플리퍼
  l_TargetAngle = real_buff[4] * 50;
  r_TargetAngle = -real_buff[5] * 50;  //하모닉 감속비 곱하는 거임
  //플리퍼

  //  control_flipper_deg[left] = real_buff[9];        //left past
  //  control_flipper_deg[right] = real_buff[8];        //right past

}

void Buzz_Lightyear()
{

  if(LED_B == 0)
    HAL_GPIO_WritePin(GPIOC,GPIO_PIN_1,GPIO_PIN_RESET);
  else
    HAL_GPIO_WritePin(GPIOC,GPIO_PIN_1,GPIO_PIN_SET);

  if(LED_G == 0)
    HAL_GPIO_WritePin(GPIOC,GPIO_PIN_2,GPIO_PIN_RESET);
  else
    HAL_GPIO_WritePin(GPIOC,GPIO_PIN_2,GPIO_PIN_SET);

  if(LED_R == 0)
    HAL_GPIO_WritePin(GPIOC,GPIO_PIN_3,GPIO_PIN_RESET);
  else
  {
    a++;
    HAL_GPIO_WritePin(GPIOC,GPIO_PIN_3,GPIO_PIN_SET);
  }

}

void AnalogRead()
{
  current = (int)((analog_current * (5.0 / 4096.0)  - 2.4654) * 0.022);
}

void rpm2Degree(double rpm)
{
  Target = (rpm / 60.0 * 360.0); // Target -> degree / s
}

void test_Target_ang(int l_Target_ang, int r_Target_ang)
{
  l_TargetAngle = l_Target_ang;
  r_TargetAngle = r_Target_ang;
}

//absolute encoder
void Enc_Clk_ClrVal()
{
  HAL_GPIO_WritePin(GPIOA,GPIO_PIN_3,GPIO_PIN_RESET);
  HAL_GPIO_WritePin(GPIOA,GPIO_PIN_6,GPIO_PIN_RESET);
}
void Enc_Clk_SetVal()
{
  HAL_GPIO_WritePin(GPIOA,GPIO_PIN_3,GPIO_PIN_SET);
  HAL_GPIO_WritePin(GPIOA,GPIO_PIN_6,GPIO_PIN_SET);
}
void medianFilterEnc()
{
  b_flipper_deg[left][enc_cnt] = raw_flipper_deg[left];
  b_flipper_deg[right][enc_cnt++] = raw_flipper_deg[right];

  if(enc_cnt > 8)
    enc_cnt = 0;

  for(int i = 0; i < 9; i++)
  {
    ing_flipper_deg[left][i] = b_flipper_deg[left][i];
    ing_flipper_deg[right][i] = b_flipper_deg[right][i];
  }
  for(int j = 0; j < 9; j++)
  {
    for(int k = j+1; k < 9; k++)
    {
      if(ing_flipper_deg[left][j] < ing_flipper_deg[left][k])
      {
        int temp = ing_flipper_deg[left][j];
        ing_flipper_deg[left][j] = ing_flipper_deg[left][k];
        ing_flipper_deg[left][k] = temp;
      }
    }
  }
  for(int j = 0; j < 9; j++)
  {
    for(int k = j+1; k < 9; k++)
    {
      if(ing_flipper_deg[right][j] < ing_flipper_deg[right][k])
      {
        int temp = ing_flipper_deg[right][j];
        ing_flipper_deg[right][j] = ing_flipper_deg[right][k];
        ing_flipper_deg[right][k] = temp;
      }
    }
  }

  //result
  if(showtime > 4)
  {
    flipper_deg[left]= ing_flipper_deg[left][4];
    flipper_deg[right]= ing_flipper_deg[right][4];
  }
  showtime++;
}

// test spi -> 가변저항 센서값
void potentiometer_processing()
{
  master_buffer_tx[3] = (uint8_t)(adc_buff[0] / 1000);
  master_buffer_tx[2] = (uint8_t)((adc_buff[0] % 1000) / 100);
  master_buffer_tx[1] = (uint8_t)((adc_buff[0] % 100) / 10);
  master_buffer_tx[0] = (uint8_t)(adc_buff[0] % 10);
}

void HAL_TIM_PeriodElapsedCallback(TIM_HandleTypeDef *htim)
{
  if(htim->Instance == TIM6)            //0.1ms
  {

    switch(encStep)
    {
    case 0:
      encCnt = 0;
      encDataTemp[0] = 0;
      encDataTemp[1] = 0;
      Enc_Clk_ClrVal();
      encStep = 1;
      break;

    case 1:
      Enc_Clk_SetVal();
      encStep = 2;
      break;

    case 2:
      encReadData[0] = HAL_GPIO_ReadPin(GPIOA,GPIO_PIN_2);
      encReadData[1] = HAL_GPIO_ReadPin(GPIOA,GPIO_PIN_5);
      Enc_Clk_ClrVal();
      encStep = 3;
      break;

    case 3:
      if(encReadData[0] != 0)
        encDataTemp[0] += ENC_HEX[encCnt];

      if(encReadData[1] != 0)
        encDataTemp[1] += ENC_HEX[encCnt];
      Enc_Clk_SetVal();
      encCnt ++;

      if(encCnt < 12)
        encStep = 2;
      else
        encStep = 4;
      break;

    case 4:
      encNowData[0] = encDataTemp[0];
      encNowData[1] = encDataTemp[1];
      raw_flipper_deg[left] = (int)(encNowData[left] / 11.37777);
      raw_flipper_deg[right] = -(int)(encNowData[right] / 11.37777 - 360);
      if(encDelayCnt++ > 120)
      {
        encDelayCnt = 0;
        encStep = 0;
      }
      break;

      // encoder 1 reset
    case 100:
      HAL_GPIO_WritePin(GPIOA,GPIO_PIN_3,GPIO_PIN_RESET);
      HAL_GPIO_WritePin(GPIOA,GPIO_PIN_4,GPIO_PIN_RESET);
      if(encResetCnt[0]++ > 10000)
      {
        encResetCnt[0] = 0;
        encStep = 101;
      }
      break;

    case 101:
      HAL_GPIO_WritePin(GPIOA,GPIO_PIN_4,GPIO_PIN_SET);
      if(encResetCnt[0]++ > 15000)
      {
        encResetCnt[0] = 0;
        encStep = 102;
      }
      break;

    case 102:
      HAL_GPIO_WritePin(GPIOA,GPIO_PIN_4,GPIO_PIN_RESET);
      if(encResetCnt[0]++ > 100)
      {
        encResetCnt[0] = 0;
        encStep = 0;
      }
      break;

      // encoder 2 reset
    case 200:
      HAL_GPIO_WritePin(GPIOA,GPIO_PIN_6,GPIO_PIN_RESET);
      HAL_GPIO_WritePin(GPIOA,GPIO_PIN_7,GPIO_PIN_RESET);
      if(encResetCnt[1]++ > 10000)
      {
        encResetCnt[1] = 0;
        encStep = 201;
      }
      break;

    case 201:
      HAL_GPIO_WritePin(GPIOA,GPIO_PIN_7,GPIO_PIN_SET);
      if(encResetCnt[1]++ > 15000)
      {
        encResetCnt[1] = 0;
        encStep = 202;
      }
      break;

    case 202:
      HAL_GPIO_WritePin(GPIOA,GPIO_PIN_7,GPIO_PIN_RESET);
      if(encResetCnt[1]++ > 100)
      {
        encResetCnt[1] = 0;
        encStep = 0;
      }
      break;
    }
  }
  if(htim->Instance == TIM10) // 1ms
  {
    cnt_1ms++;
    escape();                   // 통신 끊겼을 시
    medianFilterEnc();
    Buzz_Lightyear();

    if(start_control != 1 && cnt_1ms > 10)              // 1 부터 시작  &&  바로 시작하면 start_control이 1이 되기때문에 시간 좀 줬다가
    {
      init_position();
    }
  }

  if(htim->Instance == TIM11)
  {
    potentiometer_processing();
    SpiEn;
    HAL_SPI_TransmitReceive_DMA(&hspi2, master_buffer_tx, master_buffer_rx, 4);
    b++;
  }
}

void HAL_SPI_TxRxCpltCallback(SPI_HandleTypeDef *hspi)
{
  if(hspi -> Instance == hspi2.Instance)
  {
    spi_opperate++;
    SpiDis;
  }
}

/* USER CODE END 4 */

void StartDefaultTask(void const * argument)
{

  /* USER CODE BEGIN 5 */
  /* Infinite loop */
  for(;;)
  {
    timer_test++;
    //    Encoder_Cnt[0] = TIM5 ->CNT;
    //    Encoder_Cnt[1] = TIM4 ->CNT;
    //    Encoder_Cnt[2] = TIM3 ->CNT;
    //    Encoder_Cnt[3] = TIM2 ->CNT;

    driving_mode(); // 구동부 테스트 용 (주석할 것)

    if(start_control != 0)
    {
      control_bangkook();
    }

    TIM1 -> CCR1 = PWM[0];                      //Left wheel
    TIM1 -> CCR2 = PWM[1];                      //right wheel
    TIM1 -> CCR3 = PWM[2];
    TIM1 -> CCR4 = PWM[3];

    ////                        filpper                          ////
    l_Angle = (int)l_Input[pos];
    r_Angle = (int)r_Input[pos];

    rpm2Degree(RPM);

    Encoder_Cnt[2] = TIM3 -> CNT;
    TIM3->CNT = 0;

    Encoder_Cnt[3] = TIM2 ->CNT;
    TIM2->CNT = 0;//right

    //left
    if(Encoder_Cnt[2] > 60000)
    {
      l_buff = (int)(Encoder_Cnt[2] - 65536);
      l_Input[vel] = (l_buff * 4.39453125);         // EnocoderData / 8192 * 360 *100  (degree/s)
      l_EncoderSum += l_buff;       //  엔코더 값 누적
      l_Input[pos] = l_EncoderSum * 0.0439453125;       // 엔코더 각도로 변환(sum / 8192 * 360)
    }
    else
    {
      l_Input[vel] = (Encoder_Cnt[2] * 4.39453125);           // EnocoderData / 8192 * 360 *100  (degree/s)
      l_EncoderSum += Encoder_Cnt[2];        //  엔코더 값 누적
      l_Input[pos] = l_EncoderSum * 0.0439453125;       // 엔코더 각도로 변환(sum / 8192 * 360)
    }

    //right
    if(Encoder_Cnt[3] > 60000)
    {
      r_buff = (int)(Encoder_Cnt[3] - 65536);
      r_Input[vel] = (r_buff * 4.39453125);         // EnocoderData / 8192 * 360 *100  (degree/s)
      r_EncoderSum += r_buff;       //  엔코더 값 누적
      r_Input[pos] = r_EncoderSum * 0.0439453125;       // 엔코더 각도로 변환(sum / 8192 * 360)
    }
    else
    {
      r_Input[vel] = (Encoder_Cnt[3] * 4.39453125);           // EnocoderData / 8192 * 360 *100  (degree/s)
      r_EncoderSum += Encoder_Cnt[3];        //  엔코더 값 누적
      r_Input[pos] = r_EncoderSum * 0.0439453125;       // 엔코더 각도로 변환(sum / 8192 * 360)
    }

    PID_Control(&l_BLDC[pos], l_TargetAngle, l_Input[pos]);
    PID_Control(&l_BLDC[vel], l_BLDC[pos].nowOutput, l_Input[vel]);
    PID_Control(&r_BLDC[pos], r_TargetAngle, r_Input[pos]);
    PID_Control(&r_BLDC[vel], r_BLDC[pos].nowOutput, r_Input[vel]);

    //    PID_Control(&BLDC[vel], Target, Input[vel]); //속도 제어만 할 경우 주석 풀고 위에 두 줄 주석ㄱㄱ

    TIM1->CCR3 = (int)(l_BLDC[vel].nowOutput * -100 + 5000);
    TIM1->CCR4 = (int)(r_BLDC[vel].nowOutput * -100 + 5000);

    //check value
    PWM[2] = (int)(l_BLDC[vel].nowOutput * -100 + 5000);
    PWM[3] = (int)(r_BLDC[vel].nowOutput * -100 + 5000);

    l_now_RPM = (int)(l_Input[vel] / 360.0 * 60.0); // rpm
    r_now_RPM = (int)(r_Input[vel] / 360.0 * 60.0); // rpm

    l_Angle = (int)l_Input[pos];
    r_Angle = (int)r_Input[pos];

    osDelay(10);
  }
  /* USER CODE END 5 */
}

void Error_Handler(void)
{
}

/************************ (C) COPYRIGHT STMicroelectronics *****END OF FILE****/
